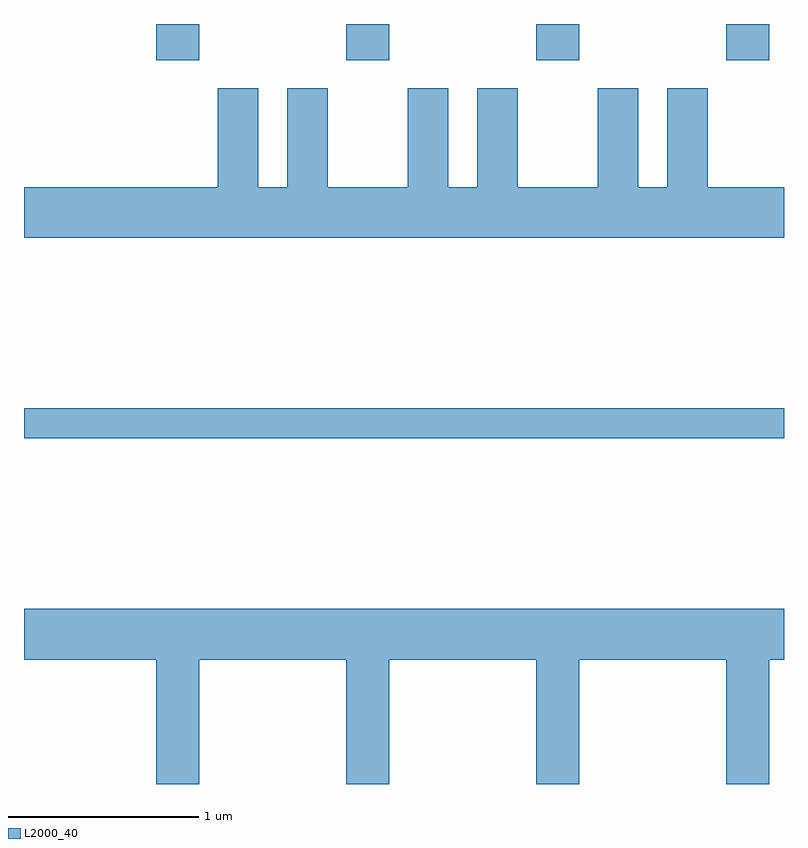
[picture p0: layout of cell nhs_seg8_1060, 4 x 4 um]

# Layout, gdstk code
import gdstk
lib = gdstk.Library(unit=1e-6, precision=1e-09)
def R(c, l, rs):  # rectangles x0, y0, x1, y1
    for r in rs: c.add(gdstk.rectangle(r[:2], r[2:], *l))
def A(c, l, x, y, w, h, nx, ny, dx, dy):  # array of equal rectangles
    R(c, l, [(x+i*dx, y+j*dy, x+i*dx+w, y+j*dy+h) for i in range(nx) for j in range(ny)])
def P(c, l, *ps):  # polygons
    for p in ps: c.add(gdstk.Polygon(p, *l))
L2000_40 = (2000, 40)

nhs_seg8_1060 = lib.new_cell('nhs_seg8_1060')
A(nhs_seg8_1060, L2000_40, 216.306, 1926.151, 0.228, 0.191, 4, 1, 1, 0)
R(nhs_seg8_1060, L2000_40, [(215.611,1924.161,219.611,1924.319)])
P(nhs_seg8_1060, L2000_40, [(219.611,1925.484),(219.209,1925.484),(219.209,1926.004),(218.996,1926.004),(218.996,1925.484),(218.844,1925.484),(218.844,1926.004),(218.631,1926.004),(218.631,1925.484),(218.209,1925.484),(218.209,1926.004),(217.996,1926.004),(217.996,1925.484),(217.844,1925.484),(217.844,1926.004),(217.631,1926.004),(217.631,1925.484),(217.209,1925.484),(217.209,1926.004),(216.996,1926.004),(216.996,1925.484),(216.844,1925.484),(216.844,1926.004),(216.631,1926.004),(216.631,1925.484),(215.611,1925.484),(215.611,1925.216),(219.611,1925.216)],
  [(216.534,1922.996),(217.306,1922.996),(217.306,1922.342),(217.534,1922.342),(217.534,1922.996),(218.306,1922.996),(218.306,1922.342),(218.534,1922.342),(218.534,1922.996),(219.306,1922.996),(219.306,1922.342),(219.534,1922.342),(219.534,1922.996),(219.611,1922.996),(219.611,1923.264),(215.611,1923.264),(215.611,1922.996),(216.306,1922.996),(216.306,1922.342),(216.534,1922.342)])

lib.write_gds('nhs_seg8_1060.gds')
